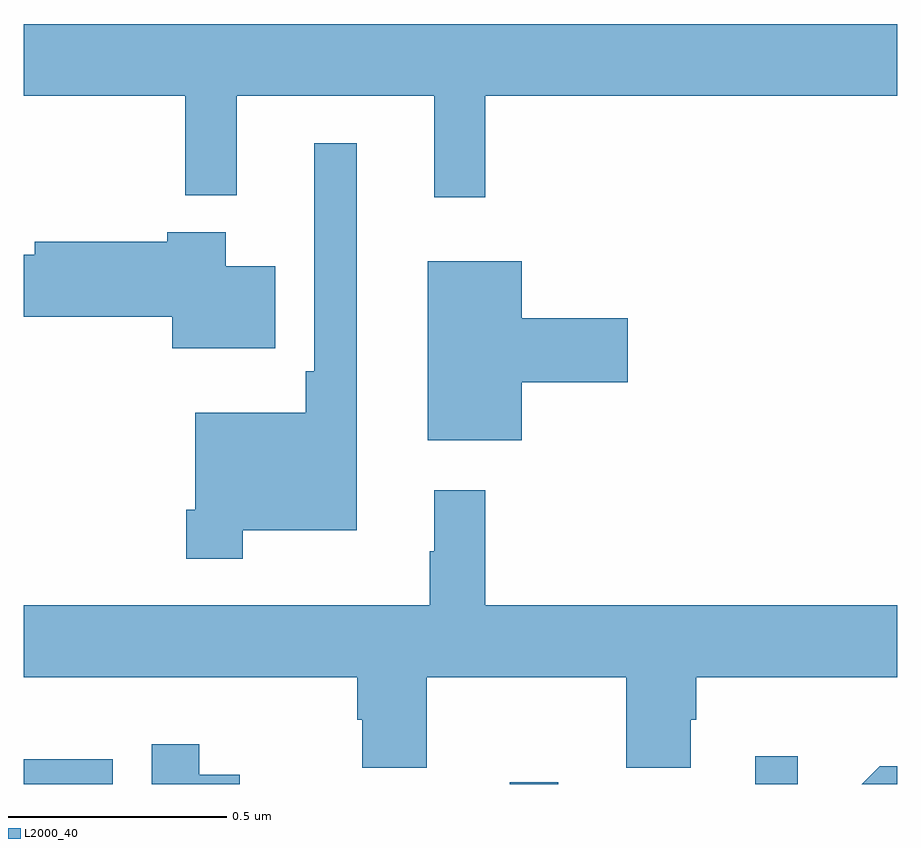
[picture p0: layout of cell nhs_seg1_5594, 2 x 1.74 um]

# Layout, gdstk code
import gdstk
lib = gdstk.Library(unit=1e-6, precision=1e-09)
def R(c, l, rs):  # rectangles x0, y0, x1, y1
    for r in rs: c.add(gdstk.rectangle(r[:2], r[2:], *l))
def P(c, l, *ps):  # polygons
    for p in ps: c.add(gdstk.Polygon(p, *l))
L2000_40 = (2000, 40)

nhs_seg1_5594 = lib.new_cell('nhs_seg1_5594')
R(nhs_seg1_5594, L2000_40, [(181,506.199,181.203,506.256), (182.113,506.199,182.224,506.203), (182.675,506.199,182.772,506.263)])
P(nhs_seg1_5594, L2000_40, [(182.057,507.776),(183,507.776),(183,507.94),(181,507.94),(181,507.776),(181.369,507.776),(181.369,507.548),(181.487,507.548),(181.487,507.776),(181.94,507.776),(181.94,507.543),(182.057,507.543)],
  [(181.501,506.78),(181.762,506.78),(181.762,507.667),(181.665,507.667),(181.665,507.145),(181.645,507.145),(181.645,507.049),(181.392,507.049),(181.392,506.827),(181.372,506.827),(181.372,506.715),(181.501,506.715)],
  [(181.576,507.385),(181.462,507.385),(181.462,507.463),(181.328,507.463),(181.328,507.441),(181.025,507.441),(181.025,507.411),(181,507.411),(181,507.269),(181.34,507.269),(181.34,507.197),(181.576,507.197)],
  [(182.14,507.119),(182.383,507.119),(182.383,507.266),(182.14,507.266),(182.14,507.397),(181.925,507.397),(181.925,506.987),(182.14,506.987)],
  [(181.923,506.444),(182.38,506.444),(182.38,506.236),(182.527,506.236),(182.527,506.346),(182.54,506.346),(182.54,506.444),(183,506.444),(183,506.608),(182.057,506.608),(182.057,506.872),(181.94,506.872),(181.94,506.732),(181.929,506.732),(181.929,506.608),(181,506.608),(181,506.444),(181.763,506.444),(181.763,506.346),(181.775,506.346),(181.775,506.236),(181.923,506.236)],
  [(181.494,506.22),(181.402,506.22),(181.402,506.29),(181.293,506.29),(181.293,506.199),(181.494,506.199)],
  [(183,506.24),(182.96,506.24),(182.919,506.199),(183,506.199)])

lib.write_gds('nhs_seg1_5594.gds')
